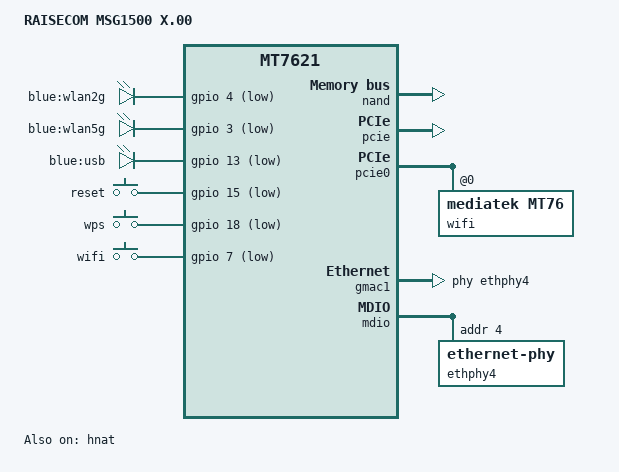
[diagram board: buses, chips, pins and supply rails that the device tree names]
// SPDX-License-Identifier: GPL-2.0-or-later OR MIT

#include "mt7621.dtsi"

#include <dt-bindings/gpio/gpio.h>
#include <dt-bindings/input/input.h>

/ {
	compatible = "raisecom,msg1500-x-00", "mediatek,mt7621-soc";
	model = "RAISECOM MSG1500 X.00";

	aliases {
		led-boot = &led_usb;
		led-failsafe = &led_usb;
		led-upgrade = &led_usb;
	};

	chosen {
		bootargs = "console=ttyS0,57600";
	};

	leds {
		compatible = "gpio-leds";

		wlan2g {
			label = "blue:wlan2g";
			gpios = <&gpio 4 GPIO_ACTIVE_LOW>;
			linux,default-trigger = "phy0radio";
		};

		wlan5g {
			label = "blue:wlan5g";
			gpios = <&gpio 3 GPIO_ACTIVE_LOW>;
			linux,default-trigger = "phy1radio";
		};

		led_usb: usb {
			label = "blue:usb";
			gpios = <&gpio 13 GPIO_ACTIVE_LOW>;
			trigger-sources = <&ehci_port2>;
			linux,default-trigger = "usbport";
		};
	};

	keys {
		compatible = "gpio-keys";

		reset {
			label = "reset";
			gpios = <&gpio 15 GPIO_ACTIVE_LOW>;
			linux,code = <KEY_RESTART>;
		};

		wps {
			label = "wps";
			gpios = <&gpio 18 GPIO_ACTIVE_LOW>;
			linux,code = <KEY_WPS_BUTTON>;
		};

		wifi {
			label = "wifi";
			gpios = <&gpio 7 GPIO_ACTIVE_LOW>;
			linux,code = <KEY_RFKILL>;
		};
	};
};

&nand {
	status = "okay";

	partitions {
		compatible = "fixed-partitions";
		#address-cells = <1>;
		#size-cells = <1>;

		partition@0 {
			label = "Bootloader";
			reg = <0x0 0x80000>;
			read-only;
		};

		partition@80000 {
			label = "Config";
			reg = <0x80000 0x80000>;
			read-only;
		};

		factory: partition@100000 {
			label = "factory";
			reg = <0x100000 0x40000>;
			read-only;
		};

		partition@140000 {
			label = "kernel";
			reg = <0x140000 0x400000>;
		};

		partition@540000 {
			label = "ubi";
			reg = <0x540000 0x7a40000>;
		};
	};
};

&pcie {
	status = "okay";
};

&pcie0 {
	wifi@0,0 {
		compatible = "mediatek,mt76";
		reg = <0x0000 0 0 0 0>;
		mediatek,mtd-eeprom = <&factory 0x0>;
		/* 5 GHz (phy1) does not take the address from calibration data,
		   but setting it manually here works */
		nvmem-cells = <&macaddr_factory_4>;
		nvmem-cell-names = "mac-address";
	};
};

&gmac1 {
	status = "okay";
	label = "wan";
	phy-handle = <&ethphy4>;
};

&mdio {
	ethphy4: ethernet-phy@4 {
		reg = <4>;
	};
};

&switch0 {
	/* must delete compatible property */
	/delete-property/ compatible;
};

&hnat {
	mtketh-wan = "eth1";
	mtketh-ppd = "eth0";
	mtketh-lan = "eth0";
	ext-devices = "wlan0","wlan1","wlan0-1","wlan1-1","rax0","ra0","rai0","apclii0","apclix0","apcli0";
	mtketh-max-gmac = <2>;
	status = "okay";
};

&gsw {
	mediatek,mdio = <&mdio>;
	mediatek,portmap = "llllw";
	mediatek,mcm;
	mt7530,direct-phy-access;

	resets = <&rstctrl 2>;
	reset-names = "mcm";

	port5: port@5 {
		compatible = "mediatek,mt753x-port";
		reg = <5>;
		phy-mode = "rgmii";
		fixed-link {
			speed = <1000>;
			full-duplex;
		};
	};

	port6: port@6 {
		compatible = "mediatek,mt753x-port";
		reg = <6>;
		phy-mode = "rgmii";
		fixed-link {
			speed = <1000>;
			full-duplex;
		};
	};

	mdio-bus {
		#address-cells = <1>;
		#size-cells = <0>;
	};
};

&state_default {
	gpio {
		groups = "i2c", "jtag", "uart3", "wdt";
		function = "gpio";
	};
};

&factory {
	compatible = "nvmem-cells";
	#address-cells = <1>;
	#size-cells = <1>;

	macaddr_factory_4: macaddr@4 {
		reg = <0x4 0x6>;
	};
};
